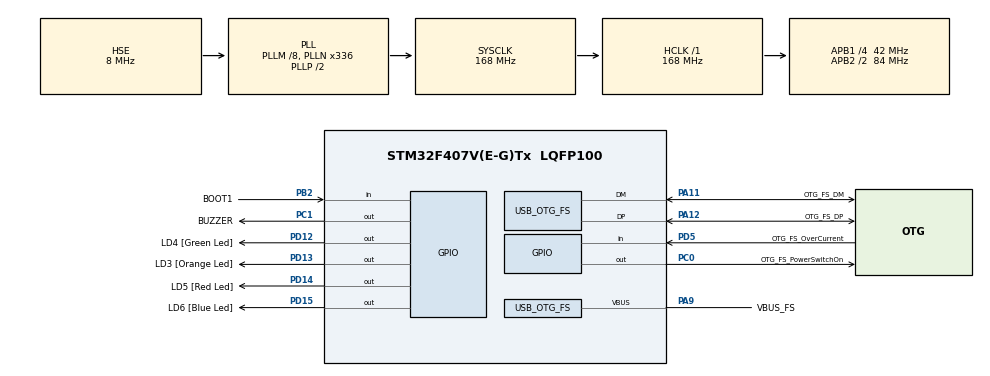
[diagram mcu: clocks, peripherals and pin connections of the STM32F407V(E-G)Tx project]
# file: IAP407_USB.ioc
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Mcu.Family=STM32F4
PA11.GPIO_Speed=GPIO_SPEED_FREQ_LOW
PD12.GPIO_Label=LD4 [Green Led]
USB_DEVICE.CLASS_NAME_FS=CDC
PH0-OSC_IN.Signal=RCC_OSC_IN
RCC.CortexFreq_Value=168000000
PA10.GPIO_PuPd=GPIO_NOPULL
PD15.GPIO_Speed=GPIO_SPEED_FREQ_LOW
PA14.GPIO_Label=SWCLK
PC0.GPIO_Label=OTG_FS_PowerSwitchOn
PA11.Mode=Device_Only
USB_DEVICE.VirtualMode-CDC_FS=Cdc
PA11.GPIO_PuPd=GPIO_NOPULL
PC15-OSC32_OUT.GPIO_Label=PC15-OSC32_OUT
RCC.SYSCLKSource=RCC_SYSCLKSOURCE_PLLCLK
ProjectManager.StackSize=0x400
PD13.Signal=GPIO_Output
PD14.GPIO_Speed=GPIO_SPEED_FREQ_LOW
PA12.Signal=USB_OTG_FS_DP
RCC.HCLKFreq_Value=168000000
RCC.APB2TimFreq_Value=168000000
RCC.AHBFreq_Value=168000000
PH0-OSC_IN.Mode=HSE-External-Oscillator
PH0-OSC_IN.GPIO_Label=PH0-OSC_IN
PA9.GPIO_Mode=GPIO_MODE_INPUT
RCC.HSE_VALUE=8000000
PB2.Signal=GPIO_Input
PC14-OSC32_IN.Mode=LSE-External-Oscillator
PA14.Mode=Serial_Wire
PA10.GPIO_Label=OTG_FS_ID
PD5.GPIO_Mode=GPIO_MODE_INPUT
PD14.GPIO_PuPd=GPIO_NOPULL
PB2.GPIO_PuPd=GPIO_NOPULL
PH1-OSC_OUT.Mode=HSE-External-Oscillator
PD13.GPIO_Label=LD3 [Orange Led]
Mcu.Package=LQFP100
PD12.Signal=GPIO_Output
PD5.GPIO_Label=OTG_FS_OverCurrent
NVIC.OTG_FS_IRQn=true\:0\:0\:false\:false\:true\:true\:true
PD15.GPIO_PuPd=GPIO_NOPULL
PA10.Signal=USB_OTG_FS_ID
USB_OTG_FS.VirtualMode=Device_Only
PA10.GPIO_Speed=GPIO_SPEED_FREQ_LOW
RCC.APB2CLKDivider=RCC_HCLK_DIV2
RCC.APB1TimFreq_Value=84000000
PC14-OSC32_IN.GPIO_Label=PC14-OSC32_IN
PC0.GPIO_PuPd=GPIO_NOPULL
PA12.GPIO_PuPd=GPIO_NOPULL
PD15.Signal=GPIO_Output
PC0.PinState=GPIO_PIN_SET
PA12.GPIO_Speed=GPIO_SPEED_FREQ_LOW
PB3.GPIO_Label=SWO
PC15-OSC32_OUT.Mode=LSE-External-Oscillator
PD12.GPIO_Speed=GPIO_SPEED_FREQ_LOW
PD15.GPIO_Label=LD6 [Blue Led]
USB_DEVICE.VirtualModeFS=Cdc_FS
PA9.GPIO_Label=VBUS_FS
PA11.GPIO_Label=OTG_FS_DM
PD5.Signal=GPIO_Input
PC0.Signal=GPIO_Output
RCC.APB1CLKDivider=RCC_HCLK_DIV4
PC14-OSC32_IN.Signal=RCC_OSC32_IN
PA9.GPIO_PuPd=GPIO_NOPULL
PA12.GPIO_Label=OTG_FS_DP
PA10.GPIO_Mode=GPIO_MODE_AF_PP
PA13.Signal=SYS_JTMS-SWDIO
PA9.Mode=Activate_VBUS
PC0.GPIO_Speed=GPIO_SPEED_FREQ_LOW
ProjectManager.TargetToolchain=STM32CubeIDE
VP_USB_DEVICE_VS_USB_DEVICE_CDC_FS.Mode=CDC_FS
PA9.Signal=USB_OTG_FS_VBUS
PC15-OSC32_OUT.Signal=RCC_OSC32_OUT
board=STM32F407G-DISC1
PD13.GPIO_Speed=GPIO_SPEED_FREQ_LOW
RCC.VCOOutputFreq_Value=336000000
PA12.GPIO_Mode=GPIO_MODE_AF_PP
RCC.APB2Freq_Value=84000000
PB2.GPIO_Mode=GPIO_MODE_INPUT
PC1.GPIO_Label=BUZZER
PH1-OSC_OUT.Signal=RCC_OSC_OUT
PD13.GPIO_PuPd=GPIO_NOPULL
PD5.GPIO_PuPd=GPIO_NOPULL
PD14.GPIO_Label=LD5 [Red Led]
PH1-OSC_OUT.GPIO_Label=PH1-OSC_OUT
PA13.Mode=Serial_Wire
Mcu.Name=STM32F407V(E-G)Tx
PA13.GPIO_Label=SWDIO
PD14.Signal=GPIO_Output
RCC.48MHZClocksFreq_Value=48000000
PB3.Signal=SYS_JTDO-SWO
RCC.SYSCLKFreq_VALUE=168000000
PA12.Mode=Device_Only
PA11.Signal=USB_OTG_FS_DM
PA14.Signal=SYS_JTCK-SWCLK
PB2.GPIO_Label=BOOT1
ProjectManager.HeapSize=0x200
RCC.HSI_VALUE=16000000
RCC.PLLQ=7
NVIC.PriorityGroup=NVIC_PRIORITYGROUP_0
RCC.PLLM=8
RCC.PLLN=336
PA11.GPIO_Mode=GPIO_MODE_AF_PP
RCC.APB1Freq_Value=42000000
PC1.Signal=GPIO_Output
PD12.GPIO_PuPd=GPIO_NOPULL

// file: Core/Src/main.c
/* USER CODE BEGIN Header */
/**
  ******************************************************************************
  * @file           : main.c
  * @brief          : Main program body
  ******************************************************************************
  * @attention
  *
  * <h2><center>&copy; Copyright (c) 2020 STMicroelectronics.
  * All rights reserved.</center></h2>
  *
  * This software component is licensed by ST under Ultimate Liberty license
  * SLA0044, the "License"; You may not use this file except in compliance with
  * the License. You may obtain a copy of the License at:
  *                             www.st.com/SLA0044
  *
  ******************************************************************************
  */
/* USER CODE END Header */
#include "main.h"
#include "usb_device.h"

/* USER CODE BEGIN PTD */

char versionNumber[15];
char read_data[15];
uint8_t versionStatus;
status otaStatus;
uint8_t *ptr = NULL;
uint8_t *versionNo = NULL;
uint32_t address;
uint16_t read_cnt=0;
extern uint32_t _user_data_start;
extern uint32_t _user_data_end;
uint8_t ConfArray[16];
uint32_t TestArray[2];
uint8_t i;
/* USER CODE END PTD */

/* USER CODE BEGIN PM */

#if LED_BUZZER_OTA == 1
	#define  	GPIO_PORT			BUZZER_GPIO_Port
	#define		GPIO_PIN			BUZZER_Pin
#elif LED_BUZZER_OTA == 0
	#define  	GPIO_PORT			LD5_GPIO_Port
	#define		GPIO_PIN			LD5_Pin
#endif
/* USER CODE END PM */

void SystemClock_Config(void);
static void MX_GPIO_Init(void);
/* USER CODE BEGIN PFP */
static void IAP_Init(void);
/* USER CODE END PFP */

/* USER CODE BEGIN 0 */
uint32_t data_length11[1000],l;

void FLASH_If_Write(uint32_t* flash_addr ,uint32_t *data,uint32_t data_length)
{
	/* Unlock the Flash to enable the flash control register access *************/
	HAL_FLASH_Unlock();

	HAL_FLASH_OB_Unlock();

	volatile uint32_t write_cnt=0, index=0;

	volatile HAL_StatusTypeDef status;
	status = HAL_OK;
	data_length11[l++]=data_length;
	while(index < data_length)
	{
		if (status == HAL_OK)
		{
			status = HAL_FLASH_Program(FLASH_TYPEPROGRAM_WORD,  (*flash_addr), (uint32_t)*data);//HAL_FLASH_Program(FLASH_TYPEPROGRAM_WORD, (*flash_addr), (uint32_t )data);
			if(status == HAL_OK)
			{
				*flash_addr = (*flash_addr)+4;
				index+=4;
				data+=1;
			}
		}
	}
	HAL_FLASH_OB_Lock();
	HAL_FLASH_Lock();
}

/* USER CODE END PFP */

/* Private user code ---------------------------------------------------------*/
/* USER CODE BEGIN 0 */

/**
 * @brief  Get the Version number saved at 0x814 0000 of Flash memory
 * @param  None
 * @retval None
 */
status Version_Check(void)
{
#if	ARRAY_METHOD
	do
	{
		 read_data[read_cnt] = *(uint8_t*)(ADDRESS_TO_READ + read_cnt);
		 read_cnt++;
	}while(read_cnt <13);
	memcpy(&versionNumber, &read_data , 13);
#endif
#if 1
	ptr = (uint8_t*)ADDRESS_TO_READ;
	for(int j = 0; j < 14; j++)
	{
		versionNumber[j] = (char)ptr[j];
	}
#endif
	if(strcmp(versionNumber, "MukWok-0.2") == 0)
	{
		return pass;
	}
	else
	{
		return fail;
	}
//	strncpy(&versionNumber, (const char *)&ptr, 13);
//	memcpy(&versionNo, &ptr , 13);
}
/* USER CODE END 0 */

int main(void)
{

  /* MCU Configuration--------------------------------------------------------*/

  /* Reset of all peripherals, Initializes the Flash interface and the Systick. */
  HAL_Init();

  /* Configure the system clock */
  SystemClock_Config();

  /* Initialize all configured peripherals */
  MX_GPIO_Init();
  MX_USB_DEVICE_Init();
  /* USER CODE BEGIN 2 */
  for(int i = 0; i < 10 ; i++)
  {
	  HAL_GPIO_TogglePin(GPIO_PORT, GPIO_PIN);
	  HAL_Delay(250);
  }

  otaStatus = Version_Check();

  Main_Menu ();
//  while(1);
 // HAL_UART_Transmit(&huart3, &data, 10, 100);
 while(1)
   {
     /* Execute the IAP driver in order to reprogram the Flash */
//     IAP_Init();
     /* Display main menu */

//     while(1);
   }
  /* USER CODE END 2 */

  /* Infinite loop */
  while (1)
  {

    /* USER CODE BEGIN 3 */

  //  HAL_UART_Transmit(&huart3,& data, 10, 100);
    HAL_Delay(100);
  }
  /* USER CODE END 3 */
}

void SystemClock_Config(void)
{
  RCC_OscInitTypeDef RCC_OscInitStruct = {0};
  RCC_ClkInitTypeDef RCC_ClkInitStruct = {0};

  /** Configure the main internal regulator output voltage
  */
  __HAL_RCC_PWR_CLK_ENABLE();
  __HAL_PWR_VOLTAGESCALING_CONFIG(PWR_REGULATOR_VOLTAGE_SCALE1);
  /** Initializes the RCC Oscillators according to the specified parameters
  * in the RCC_OscInitTypeDef structure.
  */
  RCC_OscInitStruct.OscillatorType = RCC_OSCILLATORTYPE_HSE;
  RCC_OscInitStruct.HSEState = RCC_HSE_ON;
  RCC_OscInitStruct.PLL.PLLState = RCC_PLL_ON;
  RCC_OscInitStruct.PLL.PLLSource = RCC_PLLSOURCE_HSE;
  RCC_OscInitStruct.PLL.PLLM = 8;
  RCC_OscInitStruct.PLL.PLLN = 336;
  RCC_OscInitStruct.PLL.PLLP = RCC_PLLP_DIV2;
  RCC_OscInitStruct.PLL.PLLQ = 7;
  if (HAL_RCC_OscConfig(&RCC_OscInitStruct) != HAL_OK)
  {
    Error_Handler();
  }
  /** Initializes the CPU, AHB and APB buses clocks
  */
  RCC_ClkInitStruct.ClockType = RCC_CLOCKTYPE_HCLK|RCC_CLOCKTYPE_SYSCLK
                              |RCC_CLOCKTYPE_PCLK1|RCC_CLOCKTYPE_PCLK2;
  RCC_ClkInitStruct.SYSCLKSource = RCC_SYSCLKSOURCE_PLLCLK;
  RCC_ClkInitStruct.AHBCLKDivider = RCC_SYSCLK_DIV1;
  RCC_ClkInitStruct.APB1CLKDivider = RCC_HCLK_DIV4;
  RCC_ClkInitStruct.APB2CLKDivider = RCC_HCLK_DIV2;

  if (HAL_RCC_ClockConfig(&RCC_ClkInitStruct, FLASH_LATENCY_5) != HAL_OK)
  {
    Error_Handler();
  }
}

static void MX_GPIO_Init(void)
{
  GPIO_InitTypeDef GPIO_InitStruct = {0};

  /* GPIO Ports Clock Enable */
  __HAL_RCC_GPIOC_CLK_ENABLE();
  __HAL_RCC_GPIOH_CLK_ENABLE();
  __HAL_RCC_GPIOB_CLK_ENABLE();
  __HAL_RCC_GPIOD_CLK_ENABLE();
  __HAL_RCC_GPIOA_CLK_ENABLE();

  /*Configure GPIO pin Output Level */
  HAL_GPIO_WritePin(OTG_FS_PowerSwitchOn_GPIO_Port, OTG_FS_PowerSwitchOn_Pin, GPIO_PIN_SET);

  /*Configure GPIO pin Output Level */
  HAL_GPIO_WritePin(BUZZER_GPIO_Port, BUZZER_Pin, GPIO_PIN_RESET);

  /*Configure GPIO pin Output Level */
  HAL_GPIO_WritePin(GPIOD, LD4_Pin|LD3_Pin|LD5_Pin|LD6_Pin, GPIO_PIN_RESET);

  /*Configure GPIO pins : OTG_FS_PowerSwitchOn_Pin BUZZER_Pin */
  GPIO_InitStruct.Pin = OTG_FS_PowerSwitchOn_Pin|BUZZER_Pin;
  GPIO_InitStruct.Mode = GPIO_MODE_OUTPUT_PP;
  GPIO_InitStruct.Pull = GPIO_NOPULL;
  GPIO_InitStruct.Speed = GPIO_SPEED_FREQ_LOW;
  HAL_GPIO_Init(GPIOC, &GPIO_InitStruct);

  /*Configure GPIO pin : BOOT1_Pin */
  GPIO_InitStruct.Pin = BOOT1_Pin;
  GPIO_InitStruct.Mode = GPIO_MODE_INPUT;
  GPIO_InitStruct.Pull = GPIO_NOPULL;
  HAL_GPIO_Init(BOOT1_GPIO_Port, &GPIO_InitStruct);

  /*Configure GPIO pins : LD4_Pin LD3_Pin LD5_Pin LD6_Pin */
  GPIO_InitStruct.Pin = LD4_Pin|LD3_Pin|LD5_Pin|LD6_Pin;
  GPIO_InitStruct.Mode = GPIO_MODE_OUTPUT_PP;
  GPIO_InitStruct.Pull = GPIO_NOPULL;
  GPIO_InitStruct.Speed = GPIO_SPEED_FREQ_LOW;
  HAL_GPIO_Init(GPIOD, &GPIO_InitStruct);

  /*Configure GPIO pin : OTG_FS_OverCurrent_Pin */
  GPIO_InitStruct.Pin = OTG_FS_OverCurrent_Pin;
  GPIO_InitStruct.Mode = GPIO_MODE_INPUT;
  GPIO_InitStruct.Pull = GPIO_NOPULL;
  HAL_GPIO_Init(OTG_FS_OverCurrent_GPIO_Port, &GPIO_InitStruct);

}

void Error_Handler(void)
{
}

/************************ (C) COPYRIGHT STMicroelectronics *****END OF FILE****/
